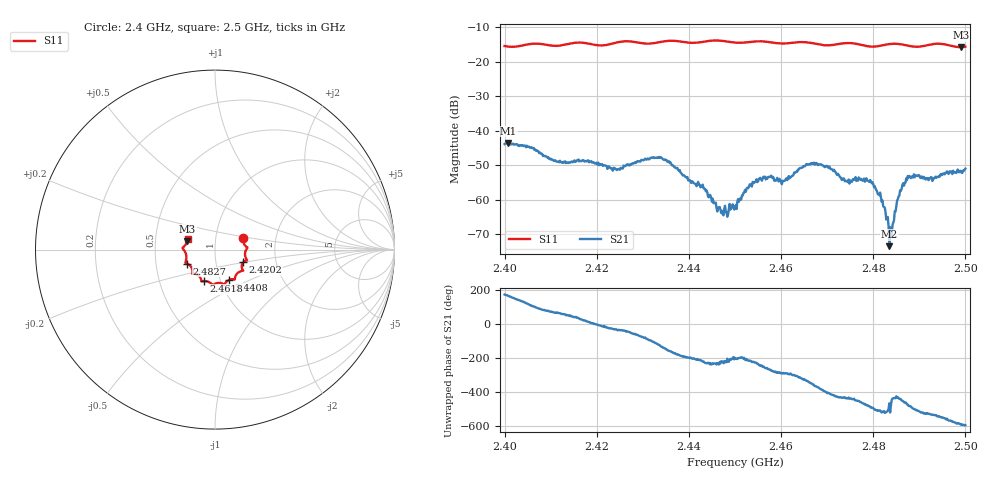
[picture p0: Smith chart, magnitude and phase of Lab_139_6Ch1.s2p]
# Hz S RI R 50
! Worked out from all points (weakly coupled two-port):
!   601 points, 2.4 GHz to 2.5 GHz, reference 50 ohm
!   highest |S21| = -43.62 dB at 2.4008 GHz (marker M1); lowest = -73.5 dB at 2.4835 GHz (marker M2)
!   lowest |S11| = -15.8 dB at 2.499 GHz (marker M3), VSWR 1.38, Z = 36.5 + j3.54 ohm
!   |S11| at or under -10 dB: start of sweep to end of sweep
!   S12 and S22 are empty: the file has one direction only
!   S11 on the Smith chart (normalised r, x): 2.4 GHz: 1.36, +0.17; 2.4202 GHz: 1.36, -0.20; 2.4408 GHz: 1.10, -0.39; 2.4618 GHz: 0.84, -0.30; 2.4827 GHz: 0.72, -0.12; 2.5 GHz: 0.73, +0.09
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2.4e9  0.1559 0.0619  -0.00636 0.000482  0 0  0 0
2.400833e9  0.1563 0.0521  -0.00644 0.0014  0 0  0 0
2.416667e9  0.1781 -0.0596  0.00315 0.00172  0 0  0 0
2.420167e9  0.1568 -0.0703  0.00321 -0.000157  0 0  0 0
2.4245e9  0.1535 -0.111  0.00222 -0.00157  0 0  0 0
2.433333e9  0.1121 -0.1522  -0.00201 -0.00357  0 0  0 0
2.440833e9  0.079 -0.1688  -0.00167 0.000715  0 0  0 0
2.447e9  0.049 -0.1937  -0.000501 0.000398  0 0  0 0
2.45e9  0.0279 -0.186  -0.000719 0.000235  0 0  0 0
2.455e9  -0.0113 -0.1959  -0.00108 0.00148  0 0  0 0
2.461833e9  -0.0601 -0.1751  0.000866 0.00183  0 0  0 0
2.466667e9  -0.0769 -0.1684  0.00329 0.000614  0 0  0 0
2.474333e9  -0.1262 -0.1353  0.000432 -0.00179  0 0  0 0
2.4795e9  -0.1315 -0.0987  -0.00122 -0.00136  0 0  0 0
2.482667e9  -0.1569 -0.0777  -0.000622 -0.00022  0 0  0 0
2.483333e9  -0.161 -0.0762  -0.000295 -0.000271  0 0  0 0
2.4835e9  -0.1619 -0.0761  -5.89e-05 -0.000203  0 0  0 0
2.484e9  -0.1636 -0.0753  1.84e-05 -0.000292  0 0  0 0
2.486e9  -0.1639 -0.0687  0.000191 -0.00133  0 0  0 0
2.487667e9  -0.1601 -0.0539  -0.0011 -0.00178  0 0  0 0
2.499e9  -0.1544 0.0472  -0.00162 0.00204  0 0  0 0
2.5e9  -0.1518 0.0616  -0.0016 0.00231  0 0  0 0
